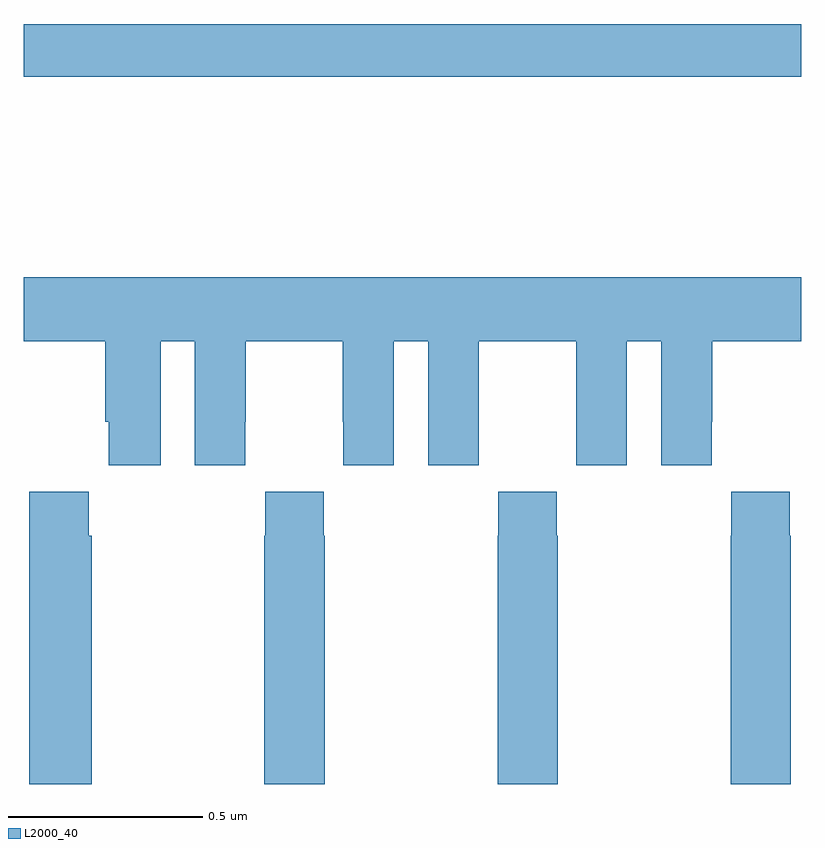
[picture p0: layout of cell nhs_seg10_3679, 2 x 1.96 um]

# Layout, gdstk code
import gdstk
lib = gdstk.Library(unit=1e-6, precision=1e-09)
def R(c, l, rs):  # rectangles x0, y0, x1, y1
    for r in rs: c.add(gdstk.rectangle(r[:2], r[2:], *l))
def P(c, l, *ps):  # polygons
    for p in ps: c.add(gdstk.Polygon(p, *l))
L2000_40 = (2000, 40)

nhs_seg10_3679 = lib.new_cell('nhs_seg10_3679')
R(nhs_seg10_3679, L2000_40, [(156,1310.32,158,1310.456)])
P(nhs_seg10_3679, L2000_40, [(156,1309.64),(156.209,1309.64),(156.209,1309.432),(156.218,1309.432),(156.218,1309.32),(156.352,1309.32),(156.352,1309.64),(156.44,1309.64),(156.44,1309.32),(156.57,1309.32),(156.57,1309.432),(156.571,1309.432),(156.571,1309.64),(156.821,1309.64),(156.821,1309.432),(156.822,1309.432),(156.822,1309.32),(156.952,1309.32),(156.952,1309.64),(157.04,1309.64),(157.04,1309.32),(157.17,1309.32),(157.17,1309.432),(157.171,1309.432),(157.171,1309.64),(157.421,1309.64),(157.421,1309.432),(157.422,1309.432),(157.422,1309.32),(157.552,1309.32),(157.552,1309.64),(157.64,1309.64),(157.64,1309.32),(157.77,1309.32),(157.77,1309.432),(157.771,1309.432),(157.771,1309.64),(158,1309.64),(158,1309.804),(156,1309.804)],
  [(156.774,1309.139),(156.771,1309.139),(156.771,1309.252),(156.621,1309.252),(156.621,1309.139),(156.619,1309.139),(156.619,1308.5),(156.774,1308.5)],
  [(156.174,1309.139),(156.167,1309.139),(156.167,1309.252),(156.014,1309.252),(156.014,1308.5),(156.174,1308.5)],
  [(157.374,1309.139),(157.371,1309.139),(157.371,1309.252),(157.221,1309.252),(157.221,1309.139),(157.219,1309.139),(157.219,1308.5),(157.374,1308.5)],
  [(157.974,1309.139),(157.971,1309.139),(157.971,1309.252),(157.821,1309.252),(157.821,1309.139),(157.819,1309.139),(157.819,1308.5),(157.974,1308.5)])

lib.write_gds('nhs_seg10_3679.gds')
